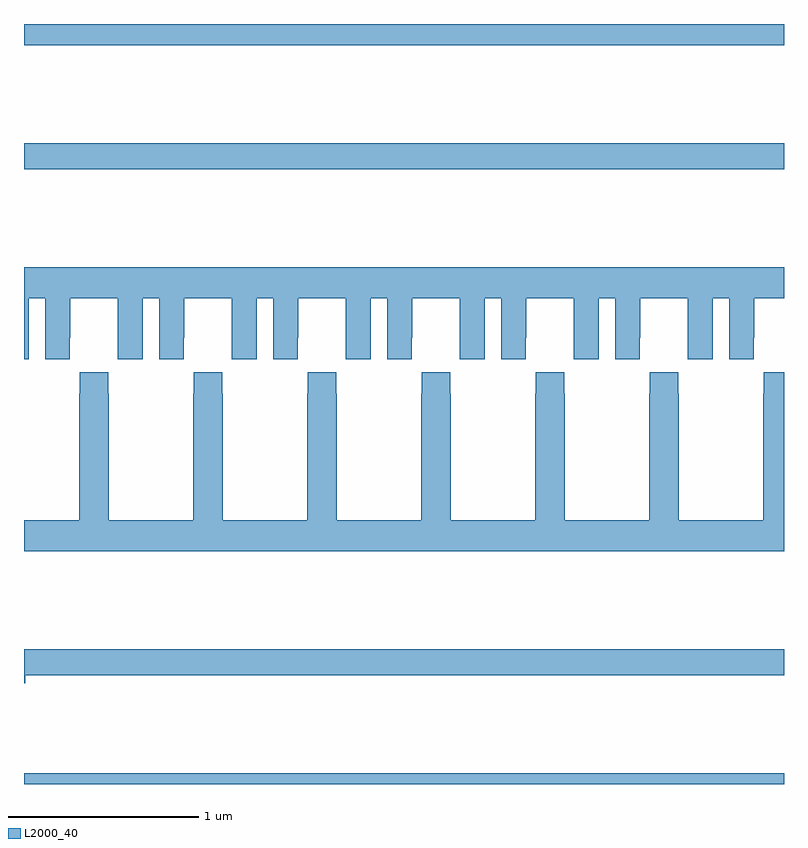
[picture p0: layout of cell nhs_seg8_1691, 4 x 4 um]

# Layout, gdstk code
import gdstk
lib = gdstk.Library(unit=1e-6, precision=1e-09)
def R(c, l, rs):  # rectangles x0, y0, x1, y1
    for r in rs: c.add(gdstk.rectangle(r[:2], r[2:], *l))
def P(c, l, *ps):  # polygons
    for p in ps: c.add(gdstk.Polygon(p, *l))
L2000_40 = (2000, 40)

nhs_seg8_1691 = lib.new_cell('nhs_seg8_1691')
R(nhs_seg8_1691, L2000_40, [(217,1157.9,221,1157.956), (217,1161.136,221,1161.272), (217,1161.788,221,1161.9)])
P(nhs_seg8_1691, L2000_40, [(217,1160.136),(217.024,1160.136),(217.024,1160.456),(217.112,1160.456),(217.112,1160.136),(217.242,1160.136),(217.242,1160.248),(217.243,1160.248),(217.243,1160.456),(217.493,1160.456),(217.493,1160.248),(217.494,1160.248),(217.494,1160.136),(217.624,1160.136),(217.624,1160.456),(217.712,1160.456),(217.712,1160.136),(217.842,1160.136),(217.842,1160.248),(217.843,1160.248),(217.843,1160.456),(218.093,1160.456),(218.093,1160.248),(218.094,1160.248),(218.094,1160.136),(218.224,1160.136),(218.224,1160.456),(218.312,1160.456),(218.312,1160.136),(218.442,1160.136),(218.442,1160.248),(218.443,1160.248),(218.443,1160.456),(218.693,1160.456),(218.693,1160.248),(218.694,1160.248),(218.694,1160.136),(218.824,1160.136),(218.824,1160.456),(218.912,1160.456),(218.912,1160.136),(219.042,1160.136),(219.042,1160.248),(219.043,1160.248),(219.043,1160.456),(219.293,1160.456),(219.293,1160.248),(219.294,1160.248),(219.294,1160.136),(219.424,1160.136),(219.424,1160.456),(219.512,1160.456),(219.512,1160.136),(219.642,1160.136),(219.642,1160.248),(219.643,1160.248),(219.643,1160.456),(219.893,1160.456),(219.893,1160.248),(219.894,1160.248),(219.894,1160.136),(220.024,1160.136),(220.024,1160.456),(220.112,1160.456),(220.112,1160.136),(220.242,1160.136),(220.242,1160.248),(220.243,1160.248),(220.243,1160.456),(220.493,1160.456),(220.493,1160.248),(220.494,1160.248),(220.494,1160.136),(220.624,1160.136),(220.624,1160.456),(220.712,1160.456),(220.712,1160.136),(220.842,1160.136),(220.842,1160.248),(220.843,1160.248),(220.843,1160.456),(221,1160.456),(221,1160.62),(217,1160.62)],
  [(221,1160.068),(220.893,1160.068),(220.893,1159.955),(220.891,1159.955),(220.891,1159.288),(220.446,1159.288),(220.446,1159.955),(220.443,1159.955),(220.443,1160.068),(220.293,1160.068),(220.293,1159.955),(220.291,1159.955),(220.291,1159.288),(219.846,1159.288),(219.846,1159.955),(219.843,1159.955),(219.843,1160.068),(219.693,1160.068),(219.693,1159.955),(219.691,1159.955),(219.691,1159.288),(219.246,1159.288),(219.246,1159.955),(219.243,1159.955),(219.243,1160.068),(219.093,1160.068),(219.093,1159.955),(219.091,1159.955),(219.091,1159.288),(218.646,1159.288),(218.646,1159.955),(218.643,1159.955),(218.643,1160.068),(218.493,1160.068),(218.493,1159.955),(218.491,1159.955),(218.491,1159.288),(218.046,1159.288),(218.046,1159.955),(218.043,1159.955),(218.043,1160.068),(217.893,1160.068),(217.893,1159.955),(217.891,1159.955),(217.891,1159.288),(217.446,1159.288),(217.446,1159.955),(217.443,1159.955),(217.443,1160.068),(217.293,1160.068),(217.293,1159.955),(217.291,1159.955),(217.291,1159.288),(217,1159.288),(217,1159.124),(221,1159.124)],
  [(217.006,1158.472),(221,1158.472),(221,1158.608),(217,1158.608),(217,1158.43),(217.006,1158.43)])

lib.write_gds('nhs_seg8_1691.gds')
